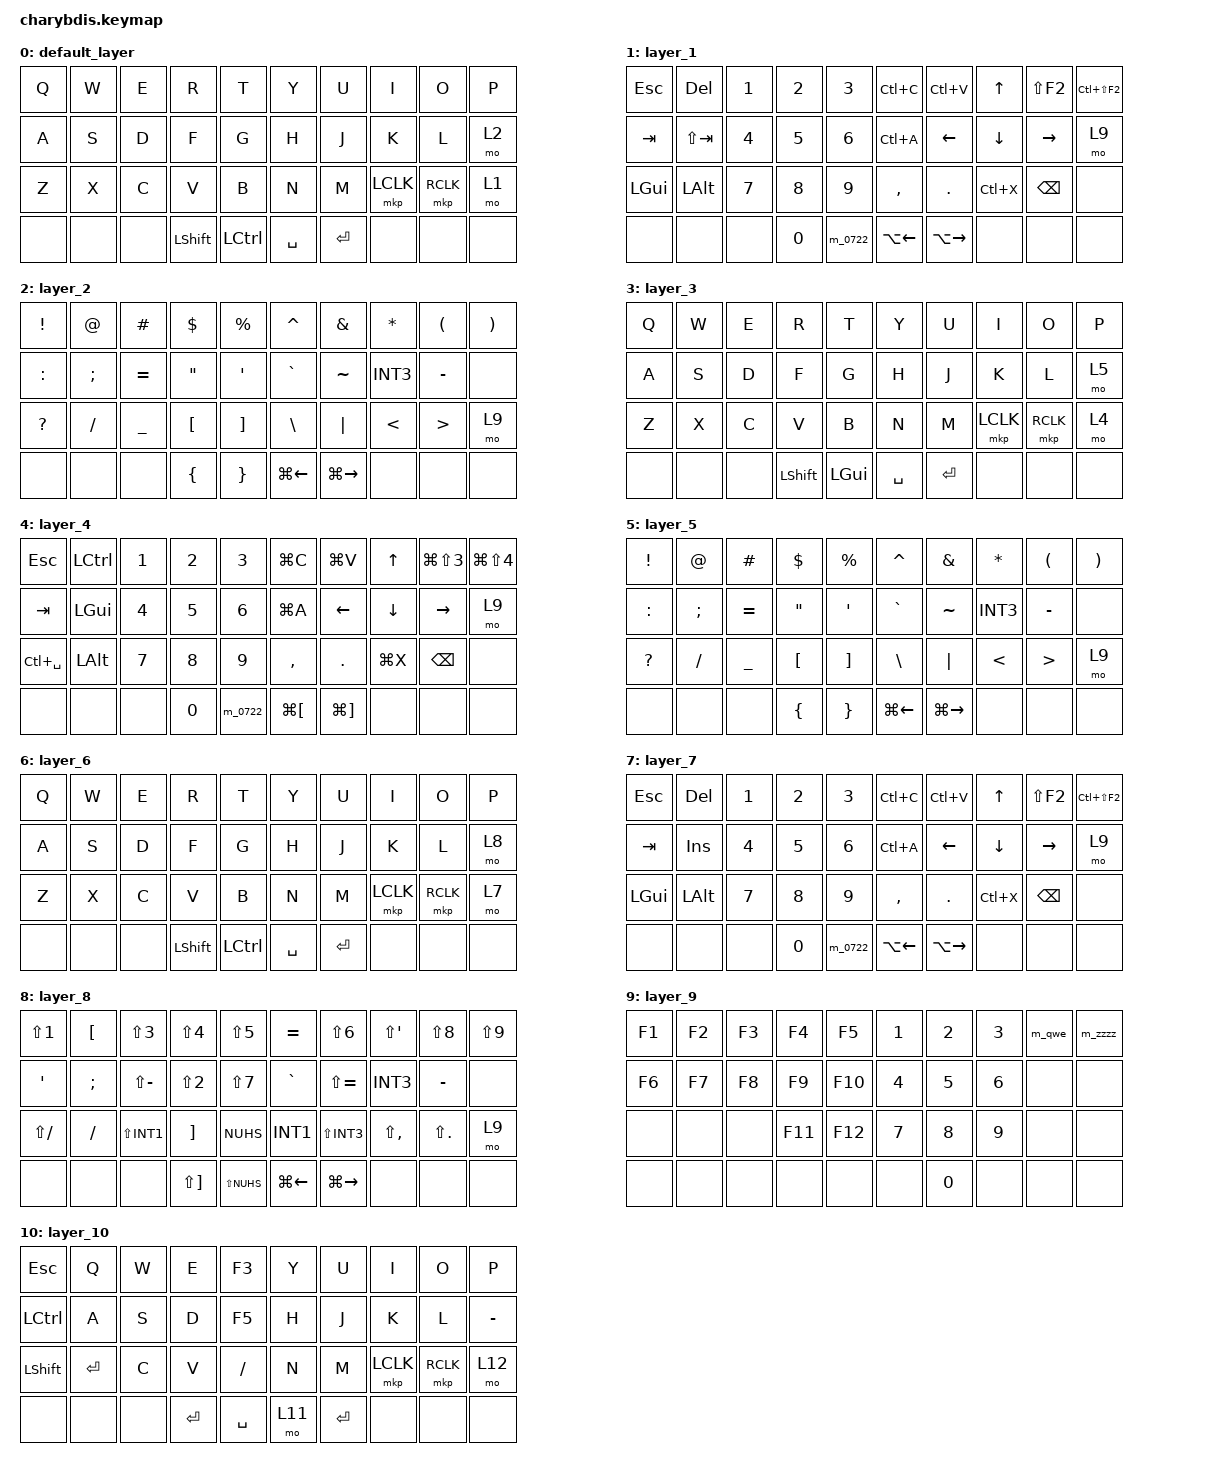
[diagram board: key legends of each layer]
#include <behaviors.dtsi>
#include <dt-bindings/zmk/bt.h>
#include <dt-bindings/zmk/keys.h>
#include <dt-bindings/zmk/pointing.h>
#include "combos.dtsi"

 /{
    chosen { zmk,matrix_transform = &four_row_five_col_transform; };
};

/* これを charybdis.keymap の先頭（includesの後）に追加 */
 / {
    behaviors {
        m_0722: m_0722 {
            compatible = "zmk,behavior-macro";
            label = "M_0722";
            #binding-cells = <0>;
            wait-ms = <0>;
            tap-ms  = <30>;
            bindings = <&kp N0 &kp N7 &kp N2 &kp N2>;
        };
        m_zzzz: m_zzzz {
            compatible = "zmk,behavior-macro";
            label = "M_ZZZZ";
            #binding-cells = <0>;
            wait-ms = <0>;
            tap-ms  = <30>;
            bindings = <&kp Z &kp Z &kp Z &kp Z &kp N1 &kp N1 &kp N1 &kp N1 &kp ENTER>;
        };
        m_qwe: m_qwe {
            compatible = "zmk,behavior-macro";
            label = "M_QWE";
            #binding-cells = <0>;
            wait-ms = <0>;
            tap-ms  = <30>;
            bindings = <&kp LS(Q) &kp W &kp E &kp N0 &kp N7 &kp N2 &kp N2 &kp O &kp K &kp EXCL>;
        };
    };
};


 /{

    keymap {
        compatible = "zmk,keymap";

        // Layer 0: 基本レイヤー（英語配列用）
        default_layer {
            bindings = <
  &kp Q            &kp W            &kp E            &kp R            &kp T            &kp Y            &kp U            &kp I            &kp O            &kp P
  &kp A            &kp S            &kp D            &kp F            &kp G            &kp H            &kp J            &kp K            &kp L            &mo 2
  &kp Z            &kp X            &kp C            &kp V            &kp B            &kp N            &kp M            &mkp LCLK        &mkp RCLK        &mo 1
  &none            &none            &none            &kp LSHIFT       &kp LCTRL        &kp SPACE        &kp ENTER        &none            &none            &none
            >;
        };

        // Layer 1: ショートカットレイヤー（英語配列用）
        layer_1 {
            bindings = <
  &kp ESC         &kp DEL          &kp N1           &kp N2           &kp N3         &kp LC(C)        &kp LC(V)         &kp UP           &kp LS(F2)       &kp LC(LS(F2))
  &kp TAB         &kp LS(TAB)      &kp N4           &kp N5           &kp N6         &kp LC(A)        &kp LEFT          &kp DOWN         &kp RIGHT        &mo 9
  &kp LGUI        &kp LALT         &kp N7           &kp N8           &kp N9         &kp COMMA        &kp PERIOD        &kp LC(X)        &kp BACKSPACE    &none
  &none           &none            &none            &kp N0           &m_0722        &kp LA(LEFT)     &kp LA(RIGHT)     &none            &none            &none
            >;
        };

        // Layer 2: 記号レイヤー（英語配列用）
        layer_2 {
            bindings = <
  &kp EXCL         &kp AT           &kp POUND        &kp DLLR         &kp PRCNT        &kp CARET        &kp AMPS         &kp ASTRK        &kp LPAR        &kp RPAR
  &kp COLON        &kp SEMI         &kp EQUAL        &kp DQT          &kp SQT          &kp GRAVE        &kp TILDE        &kp INT3         &kp MINUS       &none
  &kp QMARK        &kp SLASH        &kp UNDER        &kp LBKT         &kp RBKT         &kp BSLH         &kp PIPE         &kp LT           &kp GT          &mo 9
  &none            &none            &none            &kp LBRC         &kp RBRC         &kp LG(LEFT)     &kp LG(RIGHT)    &none            &none           &none
            >;
        };

        // Layer 3: 基本レイヤー（MAC配列用）
        layer_3 {
            bindings = <
  &kp Q            &kp W            &kp E            &kp R            &kp T            &kp Y            &kp U            &kp I            &kp O            &kp P
  &kp A            &kp S            &kp D            &kp F            &kp G            &kp H            &kp J            &kp K            &kp L            &mo 5
  &kp Z            &kp X            &kp C            &kp V            &kp B            &kp N            &kp M            &mkp LCLK        &mkp RCLK        &mo 4
  &none            &none            &none            &kp LSHIFT       &kp LGUI         &kp SPACE        &kp ENTER        &none            &none            &none
            >;
        };

        // Layer 4:ショートカットレイヤー（MAC配列用）
        layer_4 {
            bindings = <
  &kp ESC         &kp LCTRL          &kp N1           &kp N2           &kp N3         &kp LG(C)        &kp LG(V)         &kp UP           &kp LG(LS(N3))   &kp LG(LS(N4))
  &kp TAB         &kp LGUI         &kp N4           &kp N5           &kp N6         &kp LG(A)        &kp LEFT          &kp DOWN         &kp RIGHT        &mo 9
  &kp LC(SPACE)   &kp LALT         &kp N7           &kp N8           &kp N9         &kp COMMA        &kp PERIOD        &kp LG(X)        &kp BACKSPACE    &none
  &none           &none            &none            &kp N0           &m_0722        &kp LG(LBKT)     &kp LG(RBKT)      &none            &none            &none
            >;
        };

        // Layer 5: 記号レイヤー（MAC配列用）
        layer_5 {
            bindings = <
  &kp EXCL         &kp AT           &kp POUND        &kp DLLR         &kp PRCNT        &kp CARET        &kp AMPS         &kp ASTRK        &kp LPAR        &kp RPAR
  &kp COLON        &kp SEMI         &kp EQUAL        &kp DQT          &kp SQT          &kp GRAVE        &kp TILDE        &kp INT3         &kp MINUS       &none
  &kp QMARK        &kp SLASH        &kp UNDER        &kp LBKT         &kp RBKT         &kp BSLH         &kp PIPE         &kp LT           &kp GT          &mo 9
  &none            &none            &none            &kp LBRC         &kp RBRC         &kp LG(LEFT)     &kp LG(RIGHT)    &none            &none           &none
            >;
        };

        // Layer 6: 基本レイヤー（日本語配列用）
        layer_6 {
            bindings = <
  &kp Q            &kp W            &kp E            &kp R            &kp T            &kp Y            &kp U            &kp I            &kp O            &kp P
  &kp A            &kp S            &kp D            &kp F            &kp G            &kp H            &kp J            &kp K            &kp L            &mo 8
  &kp Z            &kp X            &kp C            &kp V            &kp B            &kp N            &kp M            &mkp LCLK        &mkp RCLK        &mo 7
  &none            &none            &none            &kp LSHIFT       &kp LCTRL        &kp SPACE        &kp ENTER        &none            &none            &none
            >;
        };

        // Layer 7: ショートカットレイヤー（日本語配列用）
        layer_7 {
            bindings = <
  &kp ESC         &kp DEL          &kp N1           &kp N2           &kp N3         &kp LC(C)        &kp LC(V)         &kp UP           &kp LS(F2)       &kp LC(LS(F2))
  &kp TAB         &kp INS          &kp N4           &kp N5           &kp N6         &kp LC(A)        &kp LEFT          &kp DOWN         &kp RIGHT        &mo 9
  &kp LGUI        &kp LALT         &kp N7           &kp N8           &kp N9         &kp COMMA        &kp PERIOD        &kp LC(X)        &kp BACKSPACE    &none
  &none           &none            &none            &kp N0           &m_0722        &kp LA(LEFT)     &kp LA(RIGHT)     &none            &none            &none
            >;
        };

        // Layer 8: 記号レイヤー（日本語配列用）
        layer_8 {
            bindings = <
  &kp LS(N1)       &kp LBKT         &kp LS(N3)       &kp LS(N4)       &kp LS(N5)       &kp EQUAL        &kp LS(N6)       &kp LS(SQT)      &kp LS(N8)      &kp LS(N9)
  &kp SQT          &kp SEMI         &kp LS(MINUS)    &kp LS(N2)       &kp LS(N7)       &kp GRAVE        &kp LS(EQUAL)    &kp INT3         &kp MINUS       &none
  &kp LS(SLASH)    &kp SLASH        &kp LS(INT1)     &kp RBKT         &kp NUHS         &kp INT1         &kp LS(INT3)     &kp LS(COMMA)    &kp LS(PERIOD)  &mo 9
  &none            &none            &none            &kp LS(RBKT)     &kp LS(NUHS)     &kp LG(LEFT)     &kp LG(RIGHT)    &none            &none           &none
            >;
        };

        // Layer 9: 数字専用キー
        layer_9 {
            bindings = <
  &kp F1    &kp F2   &kp F3   &kp F4    &kp F5          &kp N1    &kp N2    &kp N3    &m_qwe    &m_zzzz
  &kp F6    &kp F7   &kp F8   &kp F9    &kp F10         &kp N4    &kp N5    &kp N6    &none     &none
  &none    &none     &none    &kp F11   &kp F12         &kp N7    &kp N8    &kp N9    &none     &none
  &none    &none     &none    &none     &none           &none     &kp N0    &none     &none     &none
            >;
        };

        // Layer 10: 基本レイヤー（マイクラ配列用）
        layer_10 {
            bindings = <
  &kp ESC      &kp Q       &kp W    &kp E        &kp F3       &kp Y      &kp U         &kp I       &kp O      &kp P
  &kp LCTRL    &kp A       &kp S    &kp D        &kp F5       &kp H      &kp J         &kp K       &kp L      &kp MINUS
  &kp LSHIFT   &kp ENTER   &kp C    &kp V        &kp SLASH    &kp N      &kp M         &mkp LCLK   &mkp RCLK  &mo 12
  &none        &none       &none    &kp ENTER    &kp SPACE    &mo 11     &kp ENTER     &none       &none      &none
            >;
        };
    };
};
